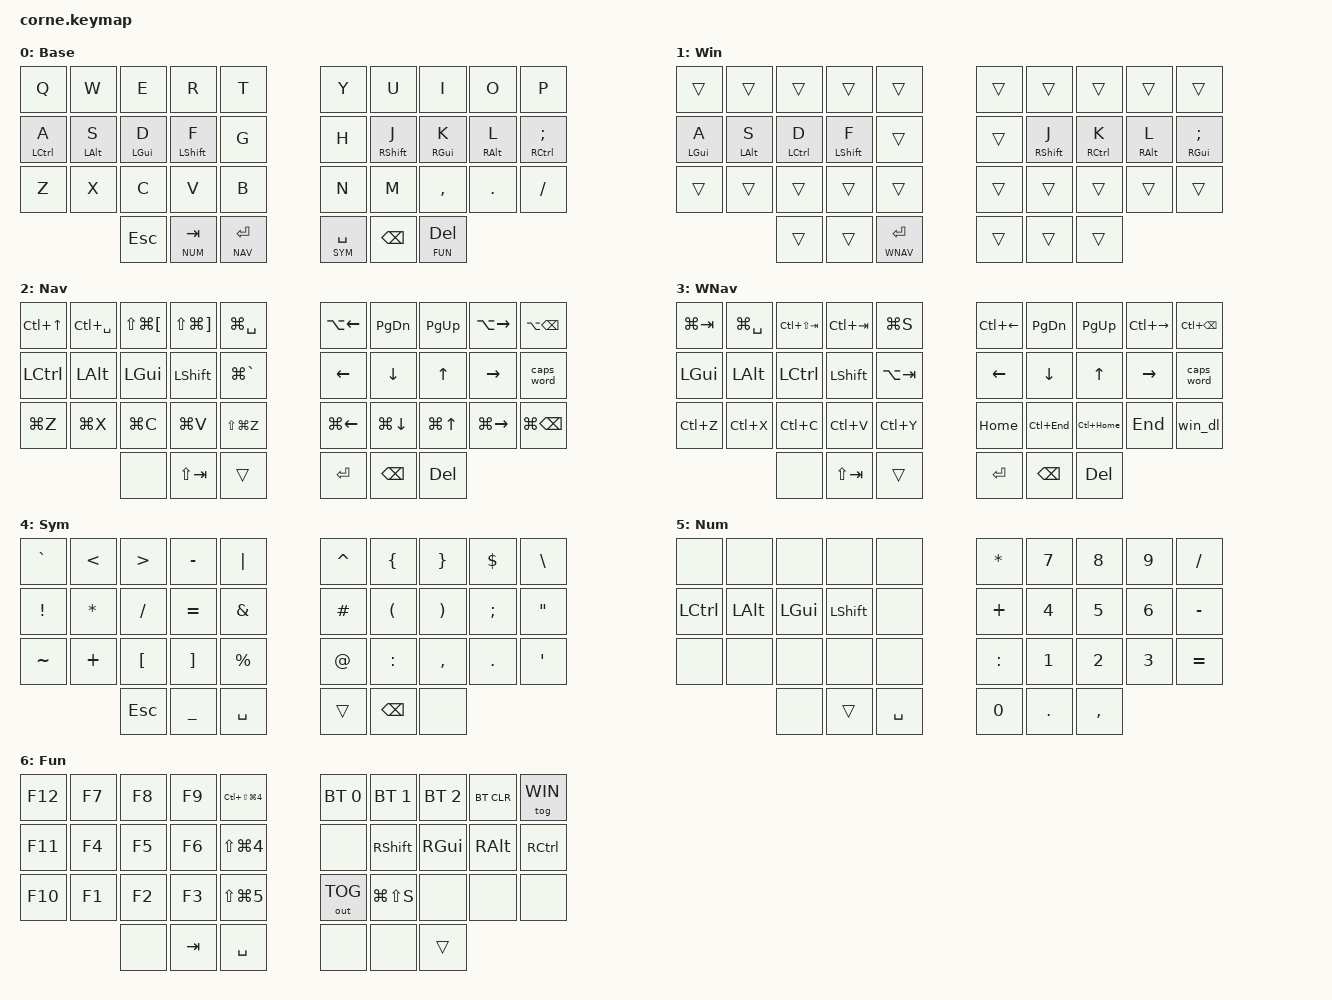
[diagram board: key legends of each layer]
/*
 * Corne 3x5+3 (36 keys) — macOS keymap for a developer
 *
 *  - Home-row mods (Ctrl / Opt / Cmd / Shift, pinky → index), tuned so they
 *    don't misfire while typing ("timeless" HRMs: balanced flavor +
 *    positional hold-tap + require-prior-idle).
 *  - Thumb layer-taps (Miryoku style): hold a thumb, the OTHER hand gets the layer.
 *  - Mac shortcuts baked in (clipboard, word/line jumps, tabs, screenshots, lock).
 *  - ZMK Studio stays usable: 2 reserved layers for experiments.
 *
 * Key positions (36-key / 5-column Corne):
 *   0  1  2  3  4      5  6  7  8  9
 *  10 11 12 13 14     15 16 17 18 19
 *  20 21 22 23 24     25 26 27 28 29
 *         30 31 32     33 34 35
 */

#include <behaviors.dtsi>
#include <dt-bindings/zmk/keys.h>
#include <dt-bindings/zmk/bt.h>
#include <dt-bindings/zmk/outputs.h>

#define BASE  0
#define WIN   1   // Windows mode: toggled on top of BASE (FUN + P)
#define NAV   2
#define WNAV  3   // Windows version of NAV
#define SYM   4
#define NUM   5
#define FUN   6

#define KEYS_L 0 1 2 3 4 10 11 12 13 14 20 21 22 23 24
#define KEYS_R 5 6 7 8 9 15 16 17 18 19 25 26 27 28 29
#define THUMBS 30 31 32 33 34 35

// ----------------------------------------------------------------------------
// Use the 36-key (5-column) physical layout of the stock Corne shield.
// ----------------------------------------------------------------------------
/ {
    chosen {
        zmk,physical-layout = &foostan_corne_5col_layout;
    };
};

/ {
    behaviors {
        // Home-row mod, LEFT hand.
        //  balanced               → becomes a mod only if another key is pressed AND released inside it
        //  hold-trigger-key-positions = right hand + thumbs
        //                         → same-hand rolls ("as", "df") always type letters
        //  hold-trigger-on-release → lets you stack same-hand mods (hold D+F = Cmd+Shift)
        //  require-prior-idle-ms  → during a typing streak the key is ALWAYS a letter
        hml: home_row_mod_left {
            compatible = "zmk,behavior-hold-tap";
            #binding-cells = <2>;
            display-name = "HRM Left";
            flavor = "balanced";
            tapping-term-ms = <280>;
            quick-tap-ms = <175>;
            require-prior-idle-ms = <200>;  // was 150: more letters print instantly while typing
            bindings = <&kp>, <&kp>;
            hold-trigger-key-positions = <KEYS_R THUMBS>;
            hold-trigger-on-release;
        };

        hmr: home_row_mod_right {
            compatible = "zmk,behavior-hold-tap";
            #binding-cells = <2>;
            display-name = "HRM Right";
            flavor = "balanced";
            tapping-term-ms = <280>;
            quick-tap-ms = <175>;
            require-prior-idle-ms = <200>;
            bindings = <&kp>, <&kp>;
            hold-trigger-key-positions = <KEYS_L THUMBS>;
            hold-trigger-on-release;
        };

        // Shift variants: a much shorter require-prior-idle (100 ms) so F/J
        // print instantly mid-word, while a capital right after a space
        // (". The") still works. Capital fails → lower to 70 or remove it.
        hmls: home_row_shift_left {
            compatible = "zmk,behavior-hold-tap";
            #binding-cells = <2>;
            display-name = "HRM Shift L";
            flavor = "balanced";
            tapping-term-ms = <280>;
            quick-tap-ms = <175>;
            require-prior-idle-ms = <100>;  // short: F/J instant mid-word, capitals after a space still work
            bindings = <&kp>, <&kp>;
            hold-trigger-key-positions = <KEYS_R THUMBS>;
            hold-trigger-on-release;
        };

        hmrs: home_row_shift_right {
            compatible = "zmk,behavior-hold-tap";
            #binding-cells = <2>;
            display-name = "HRM Shift R";
            flavor = "balanced";
            tapping-term-ms = <280>;
            quick-tap-ms = <175>;
            require-prior-idle-ms = <100>;  // short: F/J instant mid-word, capitals after a space still work
            bindings = <&kp>, <&kp>;
            hold-trigger-key-positions = <KEYS_L THUMBS>;
            hold-trigger-on-release;
        };

        // Thumb layer-tap (Tab/NUM, Enter/NAV, Space/SYM, Del/FUN).
        //  balanced              → layer is instant once you press+release a key inside it
        //  require-prior-idle-ms → while typing words, Space/Enter print on PRESS (no lag);
        //                          from a letter straight into SYM/NAV, hold a beat (>120 ms)
        //  quick-tap-ms = 0      → "tap Space, then hold Space" opens SYM (e.g. `if (`)
        //                          instead of auto-repeating spaces
        lth: thumb_layer_tap {
            compatible = "zmk,behavior-hold-tap";
            #binding-cells = <2>;
            display-name = "Thumb Layer-Tap";
            flavor = "balanced";
            tapping-term-ms = <200>;
            quick-tap-ms = <0>;
            require-prior-idle-ms = <120>;
            bindings = <&mo>, <&kp>;
        };
    };

    macros {
        // Windows has no single "delete to line start" shortcut like ⌘⌫:
        // select to line start, then delete.
        win_dl: win_delete_line {
            compatible = "zmk,behavior-macro";
            #binding-cells = <0>;
            display-name = "Win Del Line";
            bindings = <&kp LS(HOME) &kp BSPC>;
        };
    };

    // ------------------------------------------------------------------------
    // Combos — press both keys at the same time (within 30 ms).
    // require-prior-idle-ms: never fire in the middle of a typing streak.
    // ------------------------------------------------------------------------
    combos {
        compatible = "zmk,combos";

        combo_esc {                         // W + E  → Esc (Vim / IdeaVim / close popups)
            timeout-ms = <30>;
            require-prior-idle-ms = <150>;
            key-positions = <1 2>;
            bindings = <&kp ESC>;
            layers = <BASE>;
        };

        combo_caps_word {                   // V + M  → Caps Word (MAX_RETRY_COUNT)
            timeout-ms = <30>;
            require-prior-idle-ms = <150>;
            key-positions = <23 26>;
            bindings = <&caps_word>;
            layers = <BASE>;
        };
    };

    keymap {
        compatible = "zmk,keymap";

        // ,----------------------------------.   ,----------------------------------.
        // |  Q   |  W   |  E   |  R   |  T   |   |  Y   |  U   |  I   |  O   |  P   |
        // | A/⌃  | S/⌥  | D/⌘  | F/⇧  |  G   |   |  H   | J/⇧  | K/⌘  | L/⌥  | ;/⌃  |
        // |  Z   |  X   |  C   |  V   |  B   |   |  N   |  M   |  ,   |  .   |  /   |
        // `-------------+------+------+------|   |------+------+------+-------------'
        //        |    Esc    | Tab/NUM | Ent/NAV | | Spc/SYM |  Bspc   | Del/FUN |
        base {
            display-name = "Base";
            bindings = <
  &kp Q          &kp W          &kp E          &kp R           &kp T      &kp Y      &kp U           &kp I          &kp O          &kp P
  &hml LCTRL A   &hml LALT S    &hml LGUI D    &hmls LSHFT F   &kp G      &kp H      &hmrs RSHFT J   &hmr RGUI K    &hmr RALT L    &hmr RCTRL SEMI
  &kp Z          &kp X          &kp C          &kp V           &kp B      &kp N      &kp M           &kp COMMA      &kp DOT        &kp FSLH
                 &kp ESC        &lth NUM TAB   &lth NAV RET                   &lth SYM SPACE &kp BSPC        &lth FUN DEL
            >;
        };

        // WIN — Windows mode, layered on top of BASE (toggle: hold Del, tap P).
        // Only the home-row mods and the NAV thumb change; everything else
        // falls through to BASE. Ctrl moves to D/K so ⌃C is "hold K + tap C",
        // the same fingers as ⌘C on the Mac.
        // |      |      |      |      |      |   |      |      |      |      |      |
        // | A/⊞  | S/Alt| D/⌃  | F/⇧  |      |   |      | J/⇧  | K/⌃  | L/Alt| ;/⊞  |
        // |      |      |      |      |      |   |      |      |      |      |      |
        //               |      |      |Ent/WNAV| |      |      |      |
        win {
            display-name = "Win";
            bindings = <
  &trans         &trans         &trans           &trans           &trans          &trans        &trans          &trans         &trans         &trans
  &hml LGUI A    &hml LALT S    &hml LCTRL D     &hmls LSHFT F    &trans          &trans        &hmrs RSHFT J   &hmr RCTRL K   &hmr RALT L    &hmr RGUI SEMI
  &trans         &trans         &trans           &trans           &trans          &trans        &trans          &trans         &trans         &trans
                 &trans         &trans           &lth WNAV RET                    &trans        &trans          &trans
            >;
        };

        // NAV — hold Enter (left inner thumb). Right: arrows on HJKL, word jumps above, line/doc below.
        //       Left: mods + Mac clipboard on ZXCV positions.
        // | MCtl | Input| Tab← | Tab→ | Spot |   |  ⌥←  | PgDn | PgUp |  ⌥→  |  ⌥⌫  |
        // |  ⌃   |  ⌥   |  ⌘   |  ⇧   |  ⌘`  |   |  ←   |  ↓   |  ↑   |  →   | CWrd |
        // | Undo | Cut  | Copy |Paste | Redo |   |  ⌘←  |  ⌘↓  |  ⌘↑  |  ⌘→  |  ⌘⌫  |
        //               |      | ⇧Tab | HOLD |   | Ent  | Bspc | Del  |
        nav {
            display-name = "Nav";
            bindings = <
  &kp LC(UP)     &kp LC(SPACE)  &kp LS(LG(LBKT)) &kp LS(LG(RBKT)) &kp LG(SPACE)   &kp LA(LEFT)  &kp PG_DN    &kp PG_UP    &kp LA(RIGHT) &kp LA(BSPC)
  &kp LCTRL      &kp LALT       &kp LGUI         &kp LSHFT        &kp LG(GRAVE)   &kp LEFT      &kp DOWN     &kp UP       &kp RIGHT     &caps_word
  &kp LG(Z)      &kp LG(X)      &kp LG(C)        &kp LG(V)        &kp LS(LG(Z))   &kp LG(LEFT)  &kp LG(DOWN) &kp LG(UP)   &kp LG(RIGHT) &kp LG(BSPC)
                 &none          &kp LS(TAB)      &trans                           &kp RET       &kp BSPC     &kp DEL
            >;
        };

        // WNAV — NAV for Windows (hold Enter while in Windows mode).
        // Same positions as NAV, Windows shortcuts.
        // | TaskV| Input| Tab← | Tab→ |Search|   |  ^←  | PgDn | PgUp |  ^→  |  ^⌫  |
        // |  ⊞   | Alt  |  ⌃   |  ⇧   |AltTab|   |  ←   |  ↓   |  ↑   |  →   | CWrd |
        // | Undo | Cut  | Copy |Paste | Redo |   | Home |^End  |^Home | End  |DelLn |
        //               |      | ⇧Tab | HOLD |   | Ent  | Bspc | Del  |
        wnav {
            display-name = "WNav";
            bindings = <
  &kp LG(TAB)    &kp LG(SPACE)  &kp LC(LS(TAB))  &kp LC(TAB)      &kp LG(S)       &kp LC(LEFT)  &kp PG_DN    &kp PG_UP    &kp LC(RIGHT) &kp LC(BSPC)
  &kp LGUI       &kp LALT       &kp LCTRL        &kp LSHFT        &kp LA(TAB)     &kp LEFT      &kp DOWN     &kp UP       &kp RIGHT     &caps_word
  &kp LC(Z)      &kp LC(X)      &kp LC(C)        &kp LC(V)        &kp LC(Y)       &kp HOME      &kp LC(END)  &kp LC(HOME) &kp END       &win_dl
                 &none          &kp LS(TAB)      &trans                           &kp RET       &kp BSPC     &kp DEL
            >;
        };

        // SYM — hold Space (right inner thumb). Programmer symbols (after Pascal Getreuer), both hands.
        // |  `   |  <   |  >   |  -   |  |   |   |  ^   |  {   |  }   |  $   |  \   |
        // |  !   |  *   |  /   |  =   |  &   |   |  #   |  (   |  )   |  ;   |  "   |
        // |  ~   |  +   |  [   |  ]   |  %   |   |  @   |  :   |  ,   |  .   |  '   |
        //               | Esc  |  _   | Spc  |   | HOLD | Bspc |      |
        sym {
            display-name = "Sym";
            bindings = <
  &kp GRAVE      &kp LT         &kp GT           &kp MINUS        &kp PIPE        &kp CARET     &kp LBRC     &kp RBRC     &kp DLLR      &kp BSLH
  &kp EXCL       &kp STAR       &kp FSLH         &kp EQUAL        &kp AMPS        &kp HASH      &kp LPAR     &kp RPAR     &kp SEMI      &kp DQT
  &kp TILDE      &kp PLUS       &kp LBKT         &kp RBKT         &kp PRCNT       &kp AT        &kp COLON    &kp COMMA    &kp DOT       &kp SQT
                 &kp ESC        &kp UNDER        &kp SPACE                        &trans        &kp BSPC     &none
            >;
        };

        // NUM — hold Tab. Numpad on the right hand (like a real numpad),
        //       mods on the left for ⌘1–9 tab jumps.
        // |      |      |      |      |      |   |  *   |  7   |  8   |  9   |  /   |
        // |  ⌃   |  ⌥   |  ⌘   |  ⇧   |      |   |  +   |  4   |  5   |  6   |  -   |
        // |      |      |      |      |      |   |  :   |  1   |  2   |  3   |  =   |
        //               |      | HOLD | Spc  |   |  0   |  .   |  ,   |
        num {
            display-name = "Num";
            bindings = <
  &none          &none          &none            &none            &none           &kp STAR      &kp N7       &kp N8       &kp N9        &kp FSLH
  &kp LCTRL      &kp LALT       &kp LGUI         &kp LSHFT        &none           &kp PLUS      &kp N4       &kp N5       &kp N6        &kp MINUS
  &none          &none          &none            &none            &none           &kp COLON     &kp N1       &kp N2       &kp N3        &kp EQUAL
                 &none          &trans           &kp SPACE                        &kp N0        &kp DOT      &kp COMMA
            >;
        };

        // FUN — hold Delete. F-keys numpad-shaped (IntelliJ F7/F8 debug), Mac screenshots,
        //       Bluetooth profiles and the Win/Mac mode toggle on the right.
        // | F12  |  F7  |  F8  |  F9  | Shot→📋|  | BT0  | BT1  | BT2  |BT clr|Win/Mac|
        // | F11  |  F4  |  F5  |  F6  | Shot→📄|  |      |  ⇧   |  ⌘   |  ⌥   |  ⌃   |
        // | F10  |  F1  |  F2  |  F3  | Tool  |  |USB/BT|WinSnip|     |      |      |
        //               |      | Tab  | Spc  |   |      |      | HOLD |
        fun {
            display-name = "Fun";
            bindings = <
  &kp F12        &kp F7         &kp F8           &kp F9           &kp LC(LS(LG(N4)))  &bt BT_SEL 0 &bt BT_SEL 1 &bt BT_SEL 2 &bt BT_CLR  &tog WIN
  &kp F11        &kp F4         &kp F5           &kp F6           &kp LS(LG(N4))      &none     &kp RSHFT    &kp RGUI     &kp RALT      &kp RCTRL
  &kp F10        &kp F1         &kp F2           &kp F3           &kp LS(LG(N5))      &out OUT_TOG &kp LG(LS(S)) &none    &none         &none
                 &none          &kp TAB          &kp SPACE                              &none     &none        &trans
            >;
        };

        // Spare layers you can fill in later from ZMK Studio.
        extra1 {
            status = "reserved";
        };
        extra2 {
            status = "reserved";
        };
    };
};
